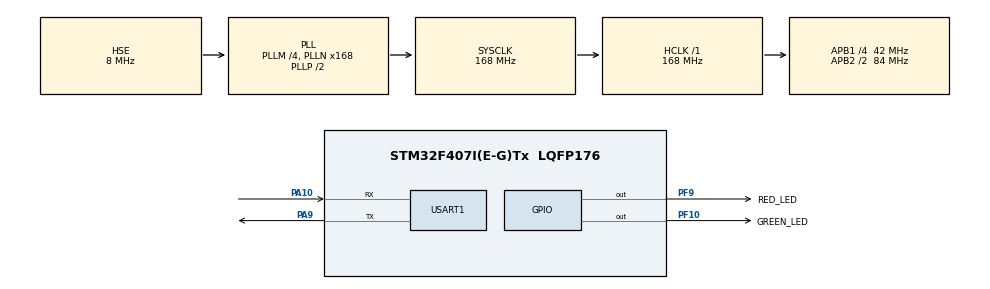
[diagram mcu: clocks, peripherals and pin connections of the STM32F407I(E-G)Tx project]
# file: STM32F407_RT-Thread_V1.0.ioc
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Dma.Request0=USART1_TX
Dma.USART1_TX.0.Direction=DMA_MEMORY_TO_PERIPH
Dma.USART1_TX.0.FIFOMode=DMA_FIFOMODE_DISABLE
Dma.USART1_TX.0.Instance=DMA2_Stream7
Dma.USART1_TX.0.MemDataAlignment=DMA_MDATAALIGN_BYTE
Dma.USART1_TX.0.MemInc=DMA_MINC_ENABLE
Dma.USART1_TX.0.Mode=DMA_NORMAL
Dma.USART1_TX.0.PeriphDataAlignment=DMA_PDATAALIGN_BYTE
Dma.USART1_TX.0.PeriphInc=DMA_PINC_DISABLE
Dma.USART1_TX.0.Priority=DMA_PRIORITY_LOW
Mcu.Family=STM32F4
Mcu.Name=STM32F407I(E-G)Tx
Mcu.Package=LQFP176
NVIC.DMA2_Stream7_IRQn=true\:0\:0\:false\:false\:true\:true\:false\:true\:true
NVIC.PriorityGroup=NVIC_PRIORITYGROUP_4
NVIC.TIM6_DAC_IRQn=true\:15\:0\:false\:false\:true\:false\:false\:true\:true
NVIC.TimeBase=TIM6_DAC_IRQn
NVIC.TimeBaseIP=TIM6
PA10.Mode=Asynchronous
PA10.Signal=USART1_RX
PA9.Mode=Asynchronous
PA9.Signal=USART1_TX
PC14-OSC32_IN.Mode=LSE-External-Oscillator
PC14-OSC32_IN.Signal=RCC_OSC32_IN
PC15-OSC32_OUT.Mode=LSE-External-Oscillator
PC15-OSC32_OUT.Signal=RCC_OSC32_OUT
PF10.GPIO_Label=GREEN_LED
PF10.GPIO_Speed=GPIO_SPEED_FREQ_HIGH
PF10.PinState=GPIO_PIN_SET
PF10.Signal=GPIO_Output
PF9.GPIO_Label=RED_LED
PF9.GPIO_Speed=GPIO_SPEED_FREQ_HIGH
PF9.PinState=GPIO_PIN_SET
PF9.Signal=GPIO_Output
PH0-OSC_IN.Mode=HSE-External-Oscillator
PH0-OSC_IN.Signal=RCC_OSC_IN
PH1-OSC_OUT.Mode=HSE-External-Oscillator
PH1-OSC_OUT.Signal=RCC_OSC_OUT
ProjectManager.HeapSize=0x400
ProjectManager.StackSize=0x800
ProjectManager.TargetToolchain=MDK-ARM V5.32
RCC.48MHZClocksFreq_Value=84000000
RCC.AHBFreq_Value=168000000
RCC.APB1CLKDivider=RCC_HCLK_DIV4
RCC.APB1Freq_Value=42000000
RCC.APB1TimFreq_Value=84000000
RCC.APB2CLKDivider=RCC_HCLK_DIV2
RCC.APB2Freq_Value=84000000
RCC.APB2TimFreq_Value=168000000
RCC.CortexFreq_Value=168000000
RCC.EnbaleCSS=true
RCC.HCLKFreq_Value=168000000
RCC.HSE_VALUE=8000000
RCC.HSI_VALUE=16000000
RCC.PLLM=4
RCC.PLLN=168
RCC.PLLSourceVirtual=RCC_PLLSOURCE_HSE
RCC.RCC_RTC_Clock_Source=RCC_RTCCLKSOURCE_LSE
RCC.RCC_RTC_Clock_SourceVirtual=RCC_RTCCLKSOURCE_LSE
RCC.SYSCLKFreq_VALUE=168000000
RCC.SYSCLKSource=RCC_SYSCLKSOURCE_PLLCLK
RCC.VCOOutputFreq_Value=336000000
RTC.Date=31
RTC.Format=RTC_FORMAT_BIN
RTC.Hours=20
RTC.Minutes=30
RTC.Month=RTC_MONTH_MAY
RTC.WeekDay=RTC_WEEKDAY_SATURDAY
RTC.Year=25
RealThread.X-CUBE-RT-Thread_Nano.4.1.1.RTAaThreadCcRTOSJjdevice=true
RealThread.X-CUBE-RT-Thread_Nano.4.1.1.RTAaThreadCcRTOSJjkernel=true
RealThread.X-CUBE-RT-Thread_Nano.4.1.1.RTAaThreadCcRTOSJjlibcpu=true
RealThread.X-CUBE-RT-Thread_Nano.4.1.1.RTAaThreadCcRTOSJjshell=true
RealThread.X-CUBE-RT-Thread_Nano.4.1.1.RT_USING_HEAP=1
RealThread.X-CUBE-RT-Thread_Nano.4.1.1.RT_USING_MEMPOOL=1
RealThread.X-CUBE-RT-Thread_Nano.4.1.1.RT_USING_SMALL_MEM=1
RealThread.X-CUBE-RT-Thread_Nano.4.1.1.RT_USING_SMALL_MEM_AS_HEAP=1
USART1.VirtualMode=VM_ASYNC
VP_RTC_VS_RTC_Activate.Mode=RTC_Enabled
VP_RTC_VS_RTC_Calendar.Mode=RTC_Calendar
VP_RealThread.X-CUBE-RT-Thread_Nano_VS_RTOSJjRTAaThread_4.1.1_4.1.1.Mode=RTOSJjRTAaThread
VP_SYS_VS_tim6.Mode=TIM6
board=custom

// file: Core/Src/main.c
/* USER CODE BEGIN Header */
/**
 ******************************************************************************
 * @file           : main.c
 * @brief          : Main program body
 ******************************************************************************
 * @attention
 *
 * Copyright (c) 2025 STMicroelectronics.
 * All rights reserved.
 *
 * This software is licensed under terms that can be found in the LICENSE file
 * in the root directory of this software component.
 * If no LICENSE file comes with this software, it is provided AS-IS.
 *
 ******************************************************************************
 */
/* USER CODE END Header */
#include "main.h"
#include "dma.h"
#include "rtc.h"
#include "usart.h"
#include "gpio.h"

/* USER CODE BEGIN Includes */
#include "rtthread.h"

/* USER CODE END Includes */

/* USER CODE BEGIN PTD */

/* �߳���غ�??�� */
#define THREAD_PRIORITY 20
#define THREAD_STACK_SIZE 512
#define THREAD_TIMESLICE 5

/* �߳̾��?? */
static rt_thread_t my_thread = RT_NULL;

/* USER CODE END PTD */

void SystemClock_Config(void);

/* USER CODE BEGIN 0 */

static void my_thread_entry(void *parprameter); /* �߳���ں���? */
/* USER CODE END 0 */

int main(void)
{

  /* MCU Configuration--------------------------------------------------------*/

  /* Reset of all peripherals, Initializes the Flash interface and the Systick. */
  HAL_Init();

  /* Configure the system clock */
  SystemClock_Config();

  /* Initialize all configured peripherals */
  MX_GPIO_Init();
  MX_DMA_Init();
  MX_RTC_Init();
  MX_USART1_UART_Init();
  /* USER CODE BEGIN 2 */

  my_thread = rt_thread_create("myThread",
                               my_thread_entry,
                               RT_NULL,
                               THREAD_STACK_SIZE,
                               THREAD_PRIORITY,
                               THREAD_TIMESLICE);

  if (my_thread != RT_NULL)
  {
    rt_thread_startup(my_thread);
    rt_kprintf("My thread created and started!\r\n");
  }
  else
  {
    rt_kprintf("Failed to create my thread!\r\n");
  }

  /* USER CODE END 2 */

  /* Infinite loop */
  while (1)
  {

    /* USER CODE BEGIN 3 */
    RED_LED(0);
    rt_thread_mdelay(50);
    RED_LED(1);
    rt_thread_mdelay(50);
    RED_LED(0);
    rt_thread_mdelay(50);
    RED_LED(1);
    rt_thread_mdelay(800);
  }
  /* USER CODE END 3 */
}

void SystemClock_Config(void)
{
  RCC_OscInitTypeDef RCC_OscInitStruct = {0};
  RCC_ClkInitTypeDef RCC_ClkInitStruct = {0};

  /** Configure the main internal regulator output voltage
  */
  __HAL_RCC_PWR_CLK_ENABLE();
  __HAL_PWR_VOLTAGESCALING_CONFIG(PWR_REGULATOR_VOLTAGE_SCALE1);

  /** Initializes the RCC Oscillators according to the specified parameters
  * in the RCC_OscInitTypeDef structure.
  */
  RCC_OscInitStruct.OscillatorType = RCC_OSCILLATORTYPE_HSE|RCC_OSCILLATORTYPE_LSE;
  RCC_OscInitStruct.HSEState = RCC_HSE_ON;
  RCC_OscInitStruct.LSEState = RCC_LSE_ON;
  RCC_OscInitStruct.PLL.PLLState = RCC_PLL_ON;
  RCC_OscInitStruct.PLL.PLLSource = RCC_PLLSOURCE_HSE;
  RCC_OscInitStruct.PLL.PLLM = 4;
  RCC_OscInitStruct.PLL.PLLN = 168;
  RCC_OscInitStruct.PLL.PLLP = RCC_PLLP_DIV2;
  RCC_OscInitStruct.PLL.PLLQ = 4;
  if (HAL_RCC_OscConfig(&RCC_OscInitStruct) != HAL_OK)
  {
    Error_Handler();
  }

  /** Initializes the CPU, AHB and APB buses clocks
  */
  RCC_ClkInitStruct.ClockType = RCC_CLOCKTYPE_HCLK|RCC_CLOCKTYPE_SYSCLK
                              |RCC_CLOCKTYPE_PCLK1|RCC_CLOCKTYPE_PCLK2;
  RCC_ClkInitStruct.SYSCLKSource = RCC_SYSCLKSOURCE_PLLCLK;
  RCC_ClkInitStruct.AHBCLKDivider = RCC_SYSCLK_DIV1;
  RCC_ClkInitStruct.APB1CLKDivider = RCC_HCLK_DIV4;
  RCC_ClkInitStruct.APB2CLKDivider = RCC_HCLK_DIV2;

  if (HAL_RCC_ClockConfig(&RCC_ClkInitStruct, FLASH_LATENCY_5) != HAL_OK)
  {
    Error_Handler();
  }

  /** Enables the Clock Security System
  */
  HAL_RCC_EnableCSS();
}

/* USER CODE BEGIN 4 */

static void my_thread_entry(void *parprameter)
{
  for (;;)
  {
    GREEN_LED(0);
    rt_thread_mdelay(50);
    GREEN_LED(1);
    rt_thread_mdelay(50);
    GREEN_LED(0);
    rt_thread_mdelay(50);
    GREEN_LED(1);
    rt_thread_mdelay(800);
  }
}

/* USER CODE END 4 */

void HAL_TIM_PeriodElapsedCallback(TIM_HandleTypeDef *htim)
{
  if (htim->Instance == TIM6)
  {
    HAL_IncTick();
  }
}

void Error_Handler(void)
{
  __disable_irq();
  while (1)
  {
  }
}
